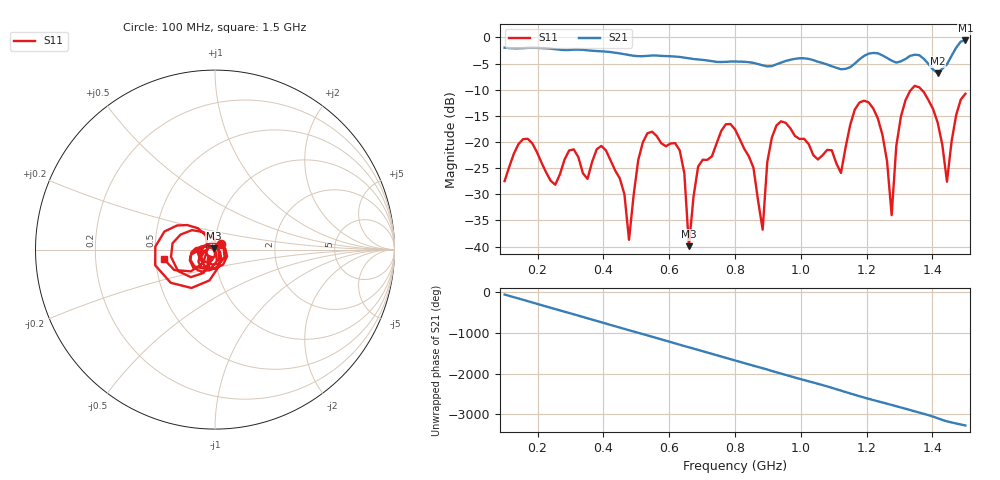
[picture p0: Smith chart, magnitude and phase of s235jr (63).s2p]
! NanoVNA-App
! Date: 2025-09-25 15:04:39
! Start: 100MHz Stop: 1,5GHz Points: 101
! S-Parameter data: F S11 S21 S12 S22
# Hz S RI R 50
!  Frequency  S11_Real  S11_Imag  S21_Real  S21_Imag  S12_Real  S12_Imag  S22_Real  S22_Imag
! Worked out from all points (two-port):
!   101 points, 100 MHz to 1.5 GHz, reference 50 ohm
!   highest |S21| = -0.58 dB at 1.5 GHz (marker M1); lowest = -6.9 dB at 1.416 GHz (marker M2)
!   |S21| within 3 dB of the highest: start of sweep to 504.8 MHz; 522.2 MHz to 595.1 MHz (72.81 MHz wide, 13 % of centre) (the widest 2 of 5)
!   lowest |S11| = -39.9 dB at 660 MHz (marker M3), VSWR 1.02, Z = 49.2 + j0.655 ohm
!   |S11| at or under -10 dB: start of sweep to 1.335 GHz; 1.367 GHz to end of sweep
!   S12 and S22 are empty: the file has one direction only
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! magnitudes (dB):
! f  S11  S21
! 100 MHz  -27.5  -2.0
! 156 MHz  -19.5  -2.1
! 338 MHz  -26.0  -2.4
! 408 MHz  -21.6  -2.7
! 478 MHz  -38.7  -3.4
! 520 MHz  -20.1  -3.6
! 576 MHz  -20.2  -3.5
! 632 MHz  -21.6  -3.7
! 660 MHz  -39.9  -4.0
! 688 MHz  -24.7  -4.2
! 800 MHz  -17.6  -4.6
! 884 MHz  -36.8  -5.3
! 926 MHz  -16.8  -5.1
! 1.038 GHz  -22.5  -4.3
! 1.122 GHz  -25.9  -6.1
! 1.206 GHz  -12.4  -3.1
! 1.276 GHz  -34.0  -4.5
! 1.29 GHz  -20.8  -4.8
! 1.332 GHz  -10.2  -3.5
! 1.416 GHz  -16.3  -6.9
! 1.444 GHz  -27.6  -5.2
! 1.5 GHz  -10.8  -0.6
